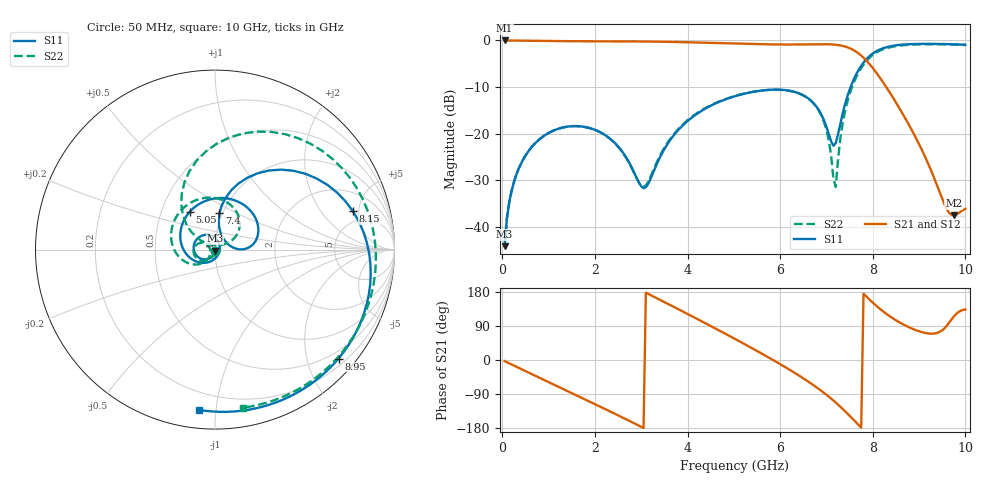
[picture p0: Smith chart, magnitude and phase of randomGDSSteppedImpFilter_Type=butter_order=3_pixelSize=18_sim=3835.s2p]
! freq	dB(S11)	phase(S11)	dB(S12)	phase(S12)
!  dB(S21)	phase(S21)	dB(S22)	phase(S22)
!S-par simulation data
#  GHz  S  DB  R 50
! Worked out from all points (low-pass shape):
!   200 points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, 50 MHz to 10 GHz, reference 50 ohm
!   highest |S21| = 0.00 dB at 50 MHz (marker M1); lowest = -37.6 dB at 9.75 GHz (marker M2)
!   |S21| within 3 dB of the highest: start of sweep to 7.72 GHz
!   lowest |S11| = -44.2 dB at 50 MHz (marker M3), VSWR 1.01, Z = 50 - j0.615 ohm
!   |S11| at or under -10 dB: start of sweep to 7.523 GHz
!   |S22| runs from -44.2 to -0.8 dB; largest |S21 - S12| = 0
!   S11 on the Smith chart (normalised r, x): 50 MHz: 1.00, -0.01; 5.05 GHz: 0.70, +0.32; 7.4 GHz: 0.97, +0.41; 8.15 GHz: 3.66, +4.30; 8.95 GHz: 0.34, -2.61; 10 GHz: 0.10, -0.90
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0.05  -44.21 -92.0  -0.00 -3.0  -0.00 -3.0  -44.15 -91.3
0.2  -32.35 -102.0  -0.02 -11.8  -0.02 -11.8  -32.34 -99.8
0.5  -24.76 -122.1  -0.06 -29.2  -0.06 -29.2  -24.75 -116.6
1.15  -19.20 -164.3  -0.14 -66.9  -0.14 -66.9  -19.19 -150.9
1.75  -18.54 155.7  -0.18 -101.8  -0.18 -101.8  -18.55 179.3
2.45  -22.23 102.1  -0.20 -143.0  -0.20 -143.0  -22.30 150.6
3.05  -31.74 -6.6  -0.23 -179.3  -0.23 -179.3  -31.52 -170.2
3.4  -25.21 -95.5  -0.27 159.1  -0.27 159.1  -24.85 -127.9
4.25  -15.47 -175.5  -0.46 105.7  -0.46 105.7  -15.32 -154.8
5.05  -11.91 123.3  -0.68 54.0  -0.68 54.0  -11.85 163.2
5.9  -10.56 61.6  -0.86 -3.8  -0.86 -3.8  -10.59 110.6
6.7  -13.26 8.6  -0.83 -64.7  -0.83 -64.7  -13.32 50.9
7  -18.56 2.3  -0.82 -91.8  -0.82 -91.8  -19.25 28.8
7.2  -22.06 55.8  -0.93 -112.2  -0.93 -112.2  -31.49 108.1
7.3  -17.87 79.7  -1.07 -123.3  -1.07 -123.3  -21.04 147.3
7.4  -13.77 83.0  -1.30 -134.9  -1.30 -134.9  -15.28 142.6
7.7  -6.23 60.7  -2.84 -172.4  -2.84 -172.4  -6.75 108.0
8.15  -1.96 15.6  -7.95 135.3  -7.95 135.3  -2.21 53.2
8.35  -1.32 -1.5  -10.93 116.8  -10.93 116.8  -1.51 32.7
8.95  -0.75 -41.4  -21.30 77.9  -21.30 77.9  -0.86 -15.8
9.75  -0.83 -83.0  -37.59 114.9  -37.59 114.9  -0.89 -65.6
10  -0.94 -95.7  -36.16 133.4  -36.16 133.4  -0.97 -80.1
